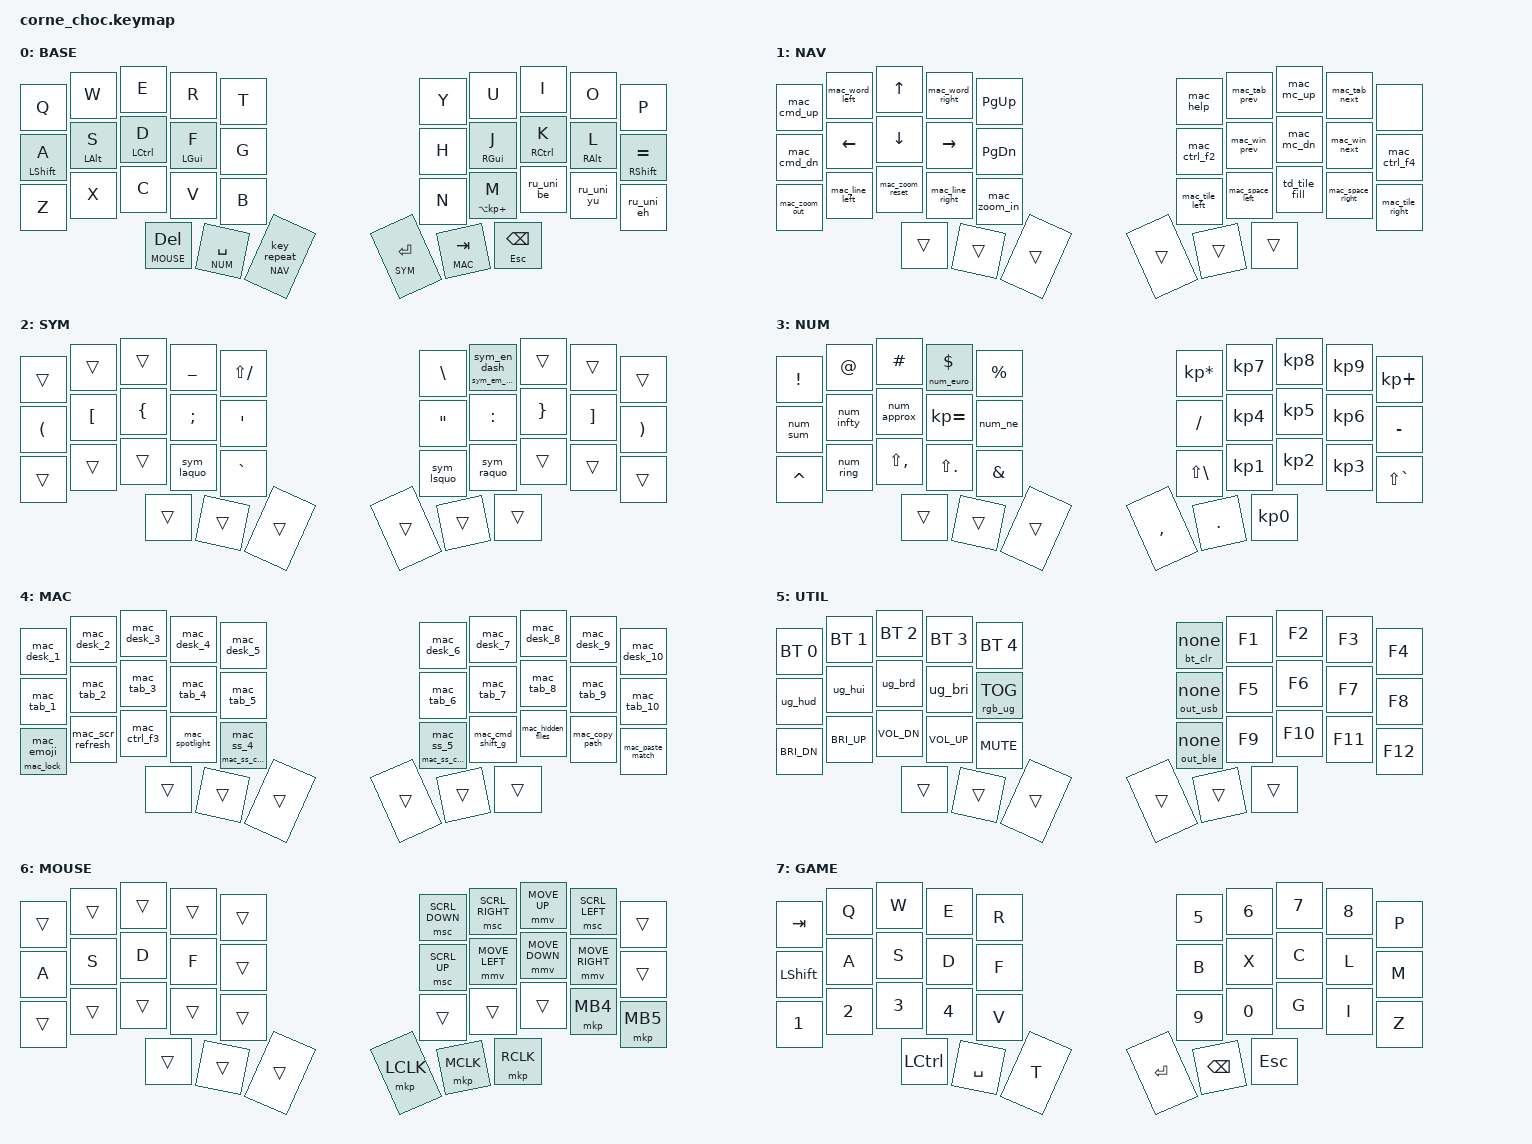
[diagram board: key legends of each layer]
/*
 * SPDX-License-Identifier: MIT
 */

#include <behaviors.dtsi>
#include <dt-bindings/zmk/behaviors.h>
#include <dt-bindings/zmk/bt.h>
#include <dt-bindings/zmk/keys.h>
/* Increase keyboard-driven cursor speed; ZMK defaults to 600. */
#define ZMK_POINTING_DEFAULT_MOVE_VAL 1200
/* Increase keyboard-driven scroll speed; ZMK defaults to 10. */
#define ZMK_POINTING_DEFAULT_SCRL_VAL 20
#include <dt-bindings/zmk/pointing.h>
#include <dt-bindings/zmk/rgb.h>
#include <dt-bindings/zmk/outputs.h>

/* Layer IDs */
#define BASE   0
#define NAV    1
#define SYM    2
#define NUM    3
#define MAC    4
#define UTIL   5
#define MOUSE  6
#define GAME   7

/ {
    chosen {
        zmk,physical-layout = &three_by_five_layout;
    };

    conditional_layers {
        compatible = "zmk,conditional-layers";
        nav_sym_util {
            if-layers = <NAV SYM>;
            then-layer = <UTIL>;
        };
    };

    /* ── Behaviors ── */

    behaviors {
        game_switch_hold: game_switch_hold {
            compatible = "zmk,behavior-hold-tap";
            #binding-cells = <2>;
            /* P + far-right thumb must stay held; other presses cannot switch early. */
            flavor = "tap-preferred";
            tapping-term-ms = <1000>;
            bindings = <&tog &none>;
        };

        ru_caps_word: ru_caps_word {
            compatible = "zmk,behavior-extended-caps-word";
            #binding-cells = <0>;
            /* GAME must not inherit implicit Shift from the typing mode. */
            deactivate-on-layer = <GAME>;
            /*
             * Keep Caps Word active for the Russian helper letters that live on
             * non-alpha HID keys and apply Shift to them like normal A-Z keys.
             */
            continue-list = <
                UNDERSCORE MINUS BACKSPACE DELETE
                KP_N0 KP_N1 KP_N2 KP_N3 KP_N4
                KP_N5 KP_N6 KP_N7 KP_N8 KP_N9
            >;
            word-list = <
                NUBS KP_MINUS KP_SLASH LA(KP_PLUS) KP_DOT
            >;
        };

        thumb_lt: thumb_lt {
            compatible = "zmk,behavior-hold-tap";
            #binding-cells = <2>;
            /*
             * Layer-tap thumb:
             * - Tap sends the key (e.g. Enter)
             * - Hold past tapping-term OR chord with another key to activate the layer (e.g. SYM)
             */
            flavor = "hold-preferred";
            tapping-term-ms = <220>;
            quick-tap-ms = <120>;
            bindings = <&mo &kp>;
        };

        ug_dn_ht: ug_dn_ht {
            compatible = "zmk,behavior-hold-tap";
            #binding-cells = <2>;
            /* Tap = underglow brightness down, hold = underglow hue down (color). */
            flavor = "tap-preferred";
            tapping-term-ms = <300>;
            bindings = <&ug_hud &ug_brd>;
        };

        ug_up_ht: ug_up_ht {
            compatible = "zmk,behavior-hold-tap";
            #binding-cells = <2>;
            /* Tap = underglow brightness up, hold = underglow hue up (color). */
            flavor = "tap-preferred";
            tapping-term-ms = <300>;
            bindings = <&ug_hui &ug_bri>;
        };

        rep_nav_lt: rep_nav_lt {
            compatible = "zmk,behavior-hold-tap";
            #binding-cells = <2>;
            /*
             * REP/NAV:
             * Tap = repeat last key.
             * Hold (or chord) = NAV layer.
             */
            flavor = "balanced";
            tapping-term-ms = <210>;
            quick-tap-ms = <150>;
            bindings = <&mo &key_repeat>;
        };

        tab_mac_lt: tab_mac_lt {
            compatible = "zmk,behavior-hold-tap";
            #binding-cells = <2>;
            /* Tap = TAB, hold = momentary MAC layer. */
            flavor = "balanced";
            tapping-term-ms = <210>;
            quick-tap-ms = <100>;
            bindings = <&mo &kp>;
        };

        hrm_l: hrm_l {
            compatible = "zmk,behavior-hold-tap";
            #binding-cells = <2>;
            /*
             * Home row mods (left hand):
             * - Tap sends the letter
             * - Hold sends the modifier
             */
            flavor = "balanced";
            tapping-term-ms = <200>;
            quick-tap-ms = <100>;
            require-prior-idle-ms = <120>;
            bindings = <&kp &kp>;
            hold-trigger-on-release;
            /*
             * Trigger holds mainly on opposite-hand chords (+ thumbs).
             * Key positions are BASE layer indices in this keymap.
             */
            hold-trigger-key-positions = <
                5 6 7 8 9
                15 16 17 18 19
                25 26 27 28 29
                30 31 32 33 34 35
            >;
        };

        hrm_r: hrm_r {
            compatible = "zmk,behavior-hold-tap";
            #binding-cells = <2>;
            /* Home row mods (right hand). */
            flavor = "balanced";
            tapping-term-ms = <200>;
            quick-tap-ms = <100>;
            require-prior-idle-ms = <120>;
            bindings = <&kp &kp>;
            hold-trigger-on-release;
            hold-trigger-key-positions = <
                0 1 2 3 4
                10 11 12 13 14
                20 21 22 23 24
                30 31 32 33 34 35
            >;
        };

        del_esc_ht: del_esc_ht {
            compatible = "zmk,behavior-hold-tap";
            #binding-cells = <2>;
            /* Tap = Backspace, Hold = Esc. */
            flavor = "tap-preferred";
            tapping-term-ms = <200>;
            quick-tap-ms = <150>;
            bindings = <&kp &kp>;
        };

        space_num_lt: space_num_lt {
            compatible = "zmk,behavior-hold-tap";
            #binding-cells = <2>;
            /* Tap = Space, Hold = NUM layer. */
            flavor = "balanced";
            tapping-term-ms = <220>;
            quick-tap-ms = <175>;
            require-prior-idle-ms = <120>;
            /*
             * Space is used constantly. Prior-idle + timing help prevent accidental NUM holds
             * during normal typing, while keeping deliberate holds easy.
             */
            bindings = <&mo &kp>;
        };

        bspc_mouse_lt: bspc_mouse_lt {
            compatible = "zmk,behavior-hold-tap";
            #binding-cells = <2>;
            /* Tap = Delete, Hold = MOUSE layer. */
            flavor = "balanced";
            tapping-term-ms = <220>;
            quick-tap-ms = <180>;
            require-prior-idle-ms = <120>;
            /*
             * Backspace is used a lot while typing. Make it hard to accidentally enter MOUSE.
             * Pause briefly, then hold to get MOUSE.
             */
            bindings = <&mo &kp>;
        };

        util_bt_clr_hold: util_bt_clr_hold {
            compatible = "zmk,behavior-hold-tap";
            #binding-cells = <2>;
            /* Hold to clear Bluetooth bonds. Tap does nothing. */
            flavor = "tap-preferred";
            tapping-term-ms = <800>;
            bindings = <&bt_clr &none>;
        };

        util_usb_hold: util_usb_hold {
            compatible = "zmk,behavior-hold-tap";
            #binding-cells = <2>;
            /* Hold to switch output to USB. Tap does nothing. */
            flavor = "tap-preferred";
            tapping-term-ms = <800>;
            bindings = <&out_usb &none>;
        };

        util_ble_hold: util_ble_hold {
            compatible = "zmk,behavior-hold-tap";
            #binding-cells = <2>;
            /* Hold to switch output to BLE. Tap does nothing. */
            flavor = "tap-preferred";
            tapping-term-ms = <800>;
            bindings = <&out_ble &none>;
        };

        mac_ss_4_ht: mac_ss_4_ht {
            compatible = "zmk,behavior-hold-tap";
            #binding-cells = <2>;
            /* Tap = screenshot region (⌘⇧4), hold = screenshot region to clipboard. */
            flavor = "tap-preferred";
            tapping-term-ms = <300>;
            bindings = <&mac_ss_clip_4 &mac_ss_4>;
        };

        mac_ss_5_ht: mac_ss_5_ht {
            compatible = "zmk,behavior-hold-tap";
            #binding-cells = <2>;
            /* Tap = screenshot/record panel (⌘⇧5), hold = to clipboard. */
            flavor = "tap-preferred";
            tapping-term-ms = <300>;
            bindings = <&mac_ss_clip_5 &mac_ss_5>;
        };

        mac_lock_emoji_ht: mac_lock_emoji_ht {
            compatible = "zmk,behavior-hold-tap";
            #binding-cells = <2>;
            /* Tap = emoji picker, hold = lock screen. */
            flavor = "tap-preferred";
            tapping-term-ms = <300>;
            bindings = <&mac_lock &mac_emoji>;
        };

        ru_uni_m_hard_sign_ht: ru_uni_m_hard_sign_ht {
            compatible = "zmk,behavior-hold-tap";
            #binding-cells = <2>;
            /* Tap = M, hold = hard sign via Russian Universal Option + keypad plus. */
            flavor = "tap-preferred";
            tapping-term-ms = <300>;
            bindings = <&kp &kp>;
        };

        sym_dash_ht: sym_dash_ht {
            compatible = "zmk,behavior-hold-tap";
            #binding-cells = <2>;
            /* Tap = en dash (–), hold = em dash (—) on macOS. */
            flavor = "tap-preferred";
            tapping-term-ms = <220>;
            bindings = <&sym_em_dash &sym_en_dash>;
        };

        num_dllr_euro_ht: num_dllr_euro_ht {
            compatible = "zmk,behavior-hold-tap";
            #binding-cells = <2>;
            /* Tap = $, hold = € on macOS. */
            flavor = "tap-preferred";
            tapping-term-ms = <220>;
            bindings = <&num_euro &kp>;
        };

        td_tile_fill: td_tile_fill {
            compatible = "zmk,behavior-tap-dance";
            #binding-cells = <0>;
            /* Tap = fill window, double-tap = Globe+Ctrl+R ×2 */
            tapping-term-ms = <200>;
            bindings = <&mac_tile_fill>, <&mac_tile_right_dbl>;
        };

    };

    /* ── Macros: System / BT ── */

    macros {
        bt_clr: bt_clr {
            compatible = "zmk,behavior-macro";
            #binding-cells = <0>;
            bindings = <&bt BT_CLR>;
        };

        out_usb: out_usb {
            compatible = "zmk,behavior-macro";
            #binding-cells = <0>;
            bindings = <&out OUT_USB>;
        };

        out_ble: out_ble {
            compatible = "zmk,behavior-macro";
            #binding-cells = <0>;
            bindings = <&out OUT_BLE>;
        };

        /* ── Macros: Russian Universal layout ── */

        /* Extra letters that live on non-standard HID positions in the custom layout. */

        ru_uni_be: ru_uni_be {
            compatible = "zmk,behavior-macro";
            #binding-cells = <0>;
            /* Б — mac key code 10 (NUBS) */
            bindings = <&kp NUBS>;
        };

        ru_uni_eh: ru_uni_eh {
            compatible = "zmk,behavior-macro";
            #binding-cells = <0>;
            /* Э — mac key code 75 (KP_SLASH) */
            bindings = <&kp KP_SLASH>;
        };

        ru_uni_yu: ru_uni_yu {
            compatible = "zmk,behavior-macro";
            #binding-cells = <0>;
            /* Ю — KP_MINUS */
            bindings = <&kp KP_MINUS>;
        };

        ru_uni_kha_kp: ru_uni_kha_kp {
            compatible = "zmk,behavior-macro";
            #binding-cells = <0>;
            /* Х — mac key code 65 (KP_DOT) */
            bindings = <&kp KP_DOT>;
        };

        /* ── Macros: Underglow wrappers ── */

        ug_brd: ug_brd {
            compatible = "zmk,behavior-macro";
            #binding-cells = <0>;
            bindings = <&rgb_ug RGB_BRD>;
        };

        ug_bri: ug_bri {
            compatible = "zmk,behavior-macro";
            #binding-cells = <0>;
            bindings = <&rgb_ug RGB_BRI>;
        };

        ug_hud: ug_hud {
            compatible = "zmk,behavior-macro";
            #binding-cells = <0>;
            bindings = <&rgb_ug RGB_HUD>;
        };

        ug_hui: ug_hui {
            compatible = "zmk,behavior-macro";
            #binding-cells = <0>;
            bindings = <&rgb_ug RGB_HUI>;
        };

        /* ── Macros: macOS shortcuts ── */

        mac_spotlight: mac_spotlight {
            compatible = "zmk,behavior-macro";
            #binding-cells = <0>;
            /* ⌘Space */
            bindings = <&macro_press &kp LGUI>
                     , <&macro_tap &kp SPACE>
                     , <&macro_release &kp LGUI>;
        };

        mac_desk_1: mac_desk_1 {
            compatible = "zmk,behavior-macro";
            #binding-cells = <0>;
            bindings = <&macro_press &kp LCTRL>
                     , <&macro_tap &kp N1>
                     , <&macro_release &kp LCTRL>;
        };

        mac_desk_2: mac_desk_2 {
            compatible = "zmk,behavior-macro";
            #binding-cells = <0>;
            bindings = <&macro_press &kp LCTRL>
                     , <&macro_tap &kp N2>
                     , <&macro_release &kp LCTRL>;
        };

        mac_desk_3: mac_desk_3 {
            compatible = "zmk,behavior-macro";
            #binding-cells = <0>;
            bindings = <&macro_press &kp LCTRL>
                     , <&macro_tap &kp N3>
                     , <&macro_release &kp LCTRL>;
        };

        mac_desk_4: mac_desk_4 {
            compatible = "zmk,behavior-macro";
            #binding-cells = <0>;
            bindings = <&macro_press &kp LCTRL>
                     , <&macro_tap &kp N4>
                     , <&macro_release &kp LCTRL>;
        };

        mac_desk_5: mac_desk_5 {
            compatible = "zmk,behavior-macro";
            #binding-cells = <0>;
            bindings = <&macro_press &kp LCTRL>
                     , <&macro_tap &kp N5>
                     , <&macro_release &kp LCTRL>;
        };

        mac_desk_6: mac_desk_6 {
            compatible = "zmk,behavior-macro";
            #binding-cells = <0>;
            bindings = <&macro_press &kp LCTRL>
                     , <&macro_tap &kp N6>
                     , <&macro_release &kp LCTRL>;
        };

        mac_desk_7: mac_desk_7 {
            compatible = "zmk,behavior-macro";
            #binding-cells = <0>;
            bindings = <&macro_press &kp LCTRL>
                     , <&macro_tap &kp N7>
                     , <&macro_release &kp LCTRL>;
        };

        mac_desk_8: mac_desk_8 {
            compatible = "zmk,behavior-macro";
            #binding-cells = <0>;
            bindings = <&macro_press &kp LCTRL>
                     , <&macro_tap &kp N8>
                     , <&macro_release &kp LCTRL>;
        };

        mac_desk_9: mac_desk_9 {
            compatible = "zmk,behavior-macro";
            #binding-cells = <0>;
            bindings = <&macro_press &kp LCTRL>
                     , <&macro_tap &kp N9>
                     , <&macro_release &kp LCTRL>;
        };

        mac_desk_10: mac_desk_10 {
            compatible = "zmk,behavior-macro";
            #binding-cells = <0>;
            bindings = <&macro_press &kp LCTRL>
                     , <&macro_tap &kp N0>
                     , <&macro_release &kp LCTRL>;
        };

        mac_mc_dn: mac_mc_dn {
            compatible = "zmk,behavior-macro";
            #binding-cells = <0>;
            /* Ctrl+↓ (Mission Control: Application Windows) */
            bindings = <&macro_press &kp LCTRL>
                     , <&macro_tap &kp DOWN>
                     , <&macro_release &kp LCTRL>;
        };

        mac_cmd_up: mac_cmd_up {
            compatible = "zmk,behavior-macro";
            #binding-cells = <0>;
            /* ⌘↑ (scroll to top / open parent folder) */
            bindings = <&macro_press &kp LGUI>
                     , <&macro_tap &kp UP>
                     , <&macro_release &kp LGUI>;
        };

        mac_cmd_dn: mac_cmd_dn {
            compatible = "zmk,behavior-macro";
            #binding-cells = <0>;
            /* ⌘↓ (scroll to bottom / open folder) */
            bindings = <&macro_press &kp LGUI>
                     , <&macro_tap &kp DOWN>
                     , <&macro_release &kp LGUI>;
        };

        mac_zoom_in: mac_zoom_in {
            compatible = "zmk,behavior-macro";
            #binding-cells = <0>;
            /* ⌘⇧= (Zoom in) */
            bindings = <&macro_press &kp LGUI>
                     , <&macro_press &kp LSHFT>
                     , <&macro_tap &kp EQUAL>
                     , <&macro_release &kp LSHFT>
                     , <&macro_release &kp LGUI>;
        };

        mac_zoom_out: mac_zoom_out {
            compatible = "zmk,behavior-macro";
            #binding-cells = <0>;
            /* ⌘- (Zoom out) */
            bindings = <&macro_press &kp LGUI>
                     , <&macro_tap &kp MINUS>
                     , <&macro_release &kp LGUI>;
        };

        mac_zoom_reset: mac_zoom_reset {
            compatible = "zmk,behavior-macro";
            #binding-cells = <0>;
            /* ⌘0 (Zoom reset) */
            bindings = <&macro_press &kp LGUI>
                     , <&macro_tap &kp N0>
                     , <&macro_release &kp LGUI>;
        };

        mac_tab_prev: mac_tab_prev {
            compatible = "zmk,behavior-macro";
            #binding-cells = <0>;
            /* ⌘⇧[ (Previous tab) */
            bindings = <&macro_press &kp LGUI>
                     , <&macro_press &kp LSHFT>
                     , <&macro_tap &kp LBKT>
                     , <&macro_release &kp LSHFT>
                     , <&macro_release &kp LGUI>;
        };

        mac_tab_next: mac_tab_next {
            compatible = "zmk,behavior-macro";
            #binding-cells = <0>;
            /* ⌘⇧] (Next tab) */
            bindings = <&macro_press &kp LGUI>
                     , <&macro_press &kp LSHFT>
                     , <&macro_tap &kp RBKT>
                     , <&macro_release &kp LSHFT>
                     , <&macro_release &kp LGUI>;
        };

        mac_win_next: mac_win_next {
            compatible = "zmk,behavior-macro";
            #binding-cells = <0>;
            /* ⌘` (Next window of same app) */
            bindings = <&macro_press &kp LGUI>
                     , <&macro_tap &kp GRAVE>
                     , <&macro_release &kp LGUI>;
        };

        mac_win_prev: mac_win_prev {
            compatible = "zmk,behavior-macro";
            #binding-cells = <0>;
            /* ⌘⇧` (Previous window of same app) */
            bindings = <&macro_press &kp LGUI>
                     , <&macro_press &kp LSHFT>
                     , <&macro_tap &kp GRAVE>
                     , <&macro_release &kp LSHFT>
                     , <&macro_release &kp LGUI>;
        };

        mac_mc_up: mac_mc_up {
            compatible = "zmk,behavior-macro";
            #binding-cells = <0>;
            /* Ctrl+↑ (Mission Control) */
            bindings = <&macro_press &kp LCTRL>
                     , <&macro_tap &kp UP>
                     , <&macro_release &kp LCTRL>;
        };

        mac_help: mac_help {
            compatible = "zmk,behavior-macro";
            #binding-cells = <0>;
            /* ⌘⇧/ (Help menu search) */
            bindings = <&macro_press &kp LGUI>
                     , <&macro_press &kp LSHFT>
                     , <&macro_tap &kp FSLH>
                     , <&macro_release &kp LSHFT>
                     , <&macro_release &kp LGUI>;
        };

        mac_scr_refresh: mac_scr_refresh {
            compatible = "zmk,behavior-macro";
            #binding-cells = <0>;
            /* Ctrl+F5 (Screen Refresh) */
            bindings = <&macro_press &kp LCTRL>
                     , <&macro_tap &kp F5>
                     , <&macro_release &kp LCTRL>;
        };

        mac_cmd_shift_g: mac_cmd_shift_g {
            compatible = "zmk,behavior-macro";
            #binding-cells = <0>;
            /* ⌘⇧G (Go to Folder in Finder) */
            bindings = <&macro_press &kp LGUI>
                     , <&macro_press &kp LSHFT>
                     , <&macro_tap &kp G>
                     , <&macro_release &kp LSHFT>
                     , <&macro_release &kp LGUI>;
        };

        mac_paste_match: mac_paste_match {
            compatible = "zmk,behavior-macro";
            #binding-cells = <0>;
            /* ⌘⌥⇧V (Paste and Match Style) */
            bindings = <&macro_press &kp LGUI>
                     , <&macro_press &kp LALT>
                     , <&macro_press &kp LSHFT>
                     , <&macro_tap &kp V>
                     , <&macro_release &kp LSHFT>
                     , <&macro_release &kp LALT>
                     , <&macro_release &kp LGUI>;
        };

        mac_hidden_files: mac_hidden_files {
            compatible = "zmk,behavior-macro";
            #binding-cells = <0>;
            /* ⌘⇧. (Toggle hidden files in Finder) */
            bindings = <&macro_press &kp LGUI>
                     , <&macro_press &kp LSHFT>
                     , <&macro_tap &kp DOT>
                     , <&macro_release &kp LSHFT>
                     , <&macro_release &kp LGUI>;
        };

        mac_copy_path: mac_copy_path {
            compatible = "zmk,behavior-macro";
            #binding-cells = <0>;
            /* ⌘⌥C (Copy as Pathname in Finder) */
            bindings = <&macro_press &kp LGUI>
                     , <&macro_press &kp LALT>
                     , <&macro_tap &kp C>
                     , <&macro_release &kp LALT>
                     , <&macro_release &kp LGUI>;
        };

        mac_space_left: mac_space_left {
            compatible = "zmk,behavior-macro";
            #binding-cells = <0>;
            /* Ctrl+← (Move to left Space) */
            bindings = <&macro_press &kp LCTRL>
                     , <&macro_tap &kp LEFT>
                     , <&macro_release &kp LCTRL>;
        };

        mac_space_right: mac_space_right {
            compatible = "zmk,behavior-macro";
            #binding-cells = <0>;
            /* Ctrl+→ (Move to right Space) */
            bindings = <&macro_press &kp LCTRL>
                     , <&macro_tap &kp RIGHT>
                     , <&macro_release &kp LCTRL>;
        };

        mac_ctrl_f2: mac_ctrl_f2 {
            compatible = "zmk,behavior-macro";
            #binding-cells = <0>;
            /* Ctrl+F2 (Focus menu bar) */
            bindings = <&macro_press &kp LCTRL>
                     , <&macro_tap &kp F2>
                     , <&macro_release &kp LCTRL>;
        };

        mac_ctrl_f3: mac_ctrl_f3 {
            compatible = "zmk,behavior-macro";
            #binding-cells = <0>;
            /* Ctrl+F3 (Focus Dock) */
            bindings = <&macro_press &kp LCTRL>
                     , <&macro_tap &kp F3>
                     , <&macro_release &kp LCTRL>;
        };

        mac_ctrl_f4: mac_ctrl_f4 {
            compatible = "zmk,behavior-macro";
            #binding-cells = <0>;
            /* Ctrl+F4 (Focus next window) */
            bindings = <&macro_press &kp LCTRL>
                     , <&macro_tap &kp F4>
                     , <&macro_release &kp LCTRL>;
        };

        mac_ss_4: mac_ss_4 {
            compatible = "zmk,behavior-macro";
            #binding-cells = <0>;
            /* ⌘⇧4 (Screenshot region) */
            bindings = <&macro_press &kp LGUI>
                     , <&macro_press &kp LSHFT>
                     , <&macro_tap &kp N4>
                     , <&macro_release &kp LSHFT>
                     , <&macro_release &kp LGUI>;
        };

        mac_ss_5: mac_ss_5 {
            compatible = "zmk,behavior-macro";
            #binding-cells = <0>;
            /* ⌘⇧5 (Screenshot/record panel) */
            bindings = <&macro_press &kp LGUI>
                     , <&macro_press &kp LSHFT>
                     , <&macro_tap &kp N5>
                     , <&macro_release &kp LSHFT>
                     , <&macro_release &kp LGUI>;
        };

        mac_ss_clip_4: mac_ss_clip_4 {
            compatible = "zmk,behavior-macro";
            #binding-cells = <0>;
            /* ⌃⌘⇧4 (Screenshot region to clipboard) */
            bindings = <&macro_press &kp LCTRL>
                     , <&macro_press &kp LGUI>
                     , <&macro_press &kp LSHFT>
                     , <&macro_tap &kp N4>
                     , <&macro_release &kp LSHFT>
                     , <&macro_release &kp LGUI>
                     , <&macro_release &kp LCTRL>;
        };

        mac_ss_clip_5: mac_ss_clip_5 {
            compatible = "zmk,behavior-macro";
            #binding-cells = <0>;
            /* ⌃⌘⇧5 (Screenshot/record panel to clipboard) */
            bindings = <&macro_press &kp LCTRL>
                     , <&macro_press &kp LGUI>
                     , <&macro_press &kp LSHFT>
                     , <&macro_tap &kp N5>
                     , <&macro_release &kp LSHFT>
                     , <&macro_release &kp LGUI>
                     , <&macro_release &kp LCTRL>;
        };

        mac_emoji: mac_emoji {
            compatible = "zmk,behavior-macro";
            #binding-cells = <0>;
            /* ⌃⌘Space (Emoji picker) */
            bindings = <&macro_press &kp LCTRL>
                     , <&macro_press &kp LGUI>
                     , <&macro_tap &kp SPACE>
                     , <&macro_release &kp LGUI>
                     , <&macro_release &kp LCTRL>;
        };

        mac_lock: mac_lock {
            compatible = "zmk,behavior-macro";
            #binding-cells = <0>;
            /* ⌃⌘Q (Lock screen) */
            bindings = <&macro_press &kp LCTRL>
                     , <&macro_press &kp LGUI>
                     , <&macro_tap &kp Q>
                     , <&macro_release &kp LGUI>
                     , <&macro_release &kp LCTRL>;
        };

        mac_tab_1: mac_tab_1 {
            compatible = "zmk,behavior-macro";
            #binding-cells = <0>;
            bindings = <&macro_press &kp LGUI>
                     , <&macro_tap &kp N1>
                     , <&macro_release &kp LGUI>;
        };

        mac_tab_2: mac_tab_2 {
            compatible = "zmk,behavior-macro";
            #binding-cells = <0>;
            bindings = <&macro_press &kp LGUI>
                     , <&macro_tap &kp N2>
                     , <&macro_release &kp LGUI>;
        };

        mac_tab_3: mac_tab_3 {
            compatible = "zmk,behavior-macro";
            #binding-cells = <0>;
            bindings = <&macro_press &kp LGUI>
                     , <&macro_tap &kp N3>
                     , <&macro_release &kp LGUI>;
        };

        mac_tab_4: mac_tab_4 {
            compatible = "zmk,behavior-macro";
            #binding-cells = <0>;
            bindings = <&macro_press &kp LGUI>
                     , <&macro_tap &kp N4>
                     , <&macro_release &kp LGUI>;
        };

        mac_tab_5: mac_tab_5 {
            compatible = "zmk,behavior-macro";
            #binding-cells = <0>;
            bindings = <&macro_press &kp LGUI>
                     , <&macro_tap &kp N5>
                     , <&macro_release &kp LGUI>;
        };

        mac_tab_6: mac_tab_6 {
            compatible = "zmk,behavior-macro";
            #binding-cells = <0>;
            bindings = <&macro_press &kp LGUI>
                     , <&macro_tap &kp N6>
                     , <&macro_release &kp LGUI>;
        };

        mac_tab_7: mac_tab_7 {
            compatible = "zmk,behavior-macro";
            #binding-cells = <0>;
            bindings = <&macro_press &kp LGUI>
                     , <&macro_tap &kp N7>
                     , <&macro_release &kp LGUI>;
        };

        mac_tab_8: mac_tab_8 {
            compatible = "zmk,behavior-macro";
            #binding-cells = <0>;
            bindings = <&macro_press &kp LGUI>
                     , <&macro_tap &kp N8>
                     , <&macro_release &kp LGUI>;
        };

        mac_tab_9: mac_tab_9 {
            compatible = "zmk,behavior-macro";
            #binding-cells = <0>;
            bindings = <&macro_press &kp LGUI>
                     , <&macro_tap &kp N9>
                     , <&macro_release &kp LGUI>;
        };

        mac_tab_10: mac_tab_10 {
            compatible = "zmk,behavior-macro";
            #binding-cells = <0>;
            bindings = <&macro_press &kp LGUI>
                     , <&macro_tap &kp N0>
                     , <&macro_release &kp LGUI>;
        };

        mac_word_left: mac_word_left {
            compatible = "zmk,behavior-macro";
            #binding-cells = <0>;
            /* ⌥← (Move word left) */
            bindings = <&macro_press &kp LALT>
                     , <&macro_tap &kp LEFT>
                     , <&macro_release &kp LALT>;
        };

        mac_word_right: mac_word_right {
            compatible = "zmk,behavior-macro";
            #binding-cells = <0>;
            /* ⌥→ (Move word right) */
            bindings = <&macro_press &kp LALT>
                     , <&macro_tap &kp RIGHT>
                     , <&macro_release &kp LALT>;
        };

        mac_line_left: mac_line_left {
            compatible = "zmk,behavior-macro";
            #binding-cells = <0>;
            /* ⌘← (Move to beginning of line) */
            bindings = <&macro_press &kp LGUI>
                     , <&macro_tap &kp LEFT>
                     , <&macro_release &kp LGUI>;
        };

        mac_line_right: mac_line_right {
            compatible = "zmk,behavior-macro";
            #binding-cells = <0>;
            /* ⌘→ (Move to end of line) */
            bindings = <&macro_press &kp LGUI>
                     , <&macro_tap &kp RIGHT>
                     , <&macro_release &kp LGUI>;
        };

        /* ── Macros: Symbols (Unicode via macOS Option combos) ── */

        sym_en_dash: sym_en_dash {
            compatible = "zmk,behavior-macro";
            #binding-cells = <0>;
            /* macOS: Option + - → – */
            bindings = <&macro_press &kp LALT>
                     , <&macro_tap &kp MINUS>
                     , <&macro_release &kp LALT>;
        };

        sym_em_dash: sym_em_dash {
            compatible = "zmk,behavior-macro";
            #binding-cells = <0>;
            /* macOS: Option + Shift + - → — */
            bindings = <&macro_press &kp LALT>
                     , <&macro_press &kp LSHFT>
                     , <&macro_tap &kp MINUS>
                     , <&macro_release &kp LSHFT>
                     , <&macro_release &kp LALT>;
        };

        num_euro: num_euro {
            compatible = "zmk,behavior-macro";
            #binding-cells = <0>;
            /* macOS: Option + Shift + 2 → € */
            bindings = <&macro_press &kp LALT>
                     , <&macro_press &kp LSHFT>
                     , <&macro_tap &kp N2>
                     , <&macro_release &kp LSHFT>
                     , <&macro_release &kp LALT>;
        };

        num_sum: num_sum {
            compatible = "zmk,behavior-macro";
            #binding-cells = <0>;
            /* macOS: Option + W → ∑ */
            bindings = <&macro_press &kp LALT>
                     , <&macro_tap &kp W>
                     , <&macro_release &kp LALT>;
        };

        sym_laquo: sym_laquo {
            compatible = "zmk,behavior-macro";
            #binding-cells = <0>;
            /* macOS: Option + \ → « */
            bindings = <&macro_press &kp LALT>
                     , <&macro_tap &kp BSLH>
                     , <&macro_release &kp LALT>;
        };

        sym_raquo: sym_raquo {
            compatible = "zmk,behavior-macro";
            #binding-cells = <0>;
            /* macOS: Option + Shift + \ → » */
            bindings = <&macro_press &kp LALT>
                     , <&macro_press &kp LSHFT>
                     , <&macro_tap &kp BSLH>
                     , <&macro_release &kp LSHFT>
                     , <&macro_release &kp LALT>;
        };

        sym_lsquo: sym_lsquo {
            compatible = "zmk,behavior-macro";
            #binding-cells = <0>;
            /* macOS: Option + ] → ' */
            bindings = <&macro_press &kp LALT>
                     , <&macro_tap &kp RBKT>
                     , <&macro_release &kp LALT>;
        };

        num_ne: num_ne {
            compatible = "zmk,behavior-macro";
            #binding-cells = <0>;
            /* macOS: Option + = → ≠ */
            bindings = <&macro_press &kp LALT>
                     , <&macro_tap &kp EQUAL>
                     , <&macro_release &kp LALT>;
        };

        num_approx: num_approx {
            compatible = "zmk,behavior-macro";
            #binding-cells = <0>;
            /* macOS: Option + X → ≈ */
            bindings = <&macro_press &kp LALT>
                     , <&macro_tap &kp X>
                     , <&macro_release &kp LALT>;
        };

        num_infty: num_infty {
            compatible = "zmk,behavior-macro";
            #binding-cells = <0>;
            /* macOS: Option + 5 → ∞ */
            bindings = <&macro_press &kp LALT>
                     , <&macro_tap &kp N5>
                     , <&macro_release &kp LALT>;
        };

        num_ring: num_ring {
            compatible = "zmk,behavior-macro";
            #binding-cells = <0>;
            /* macOS: Option + K → ˚ */
            bindings = <&macro_press &kp LALT>
                     , <&macro_tap &kp K>
                     , <&macro_release &kp LALT>;
        };

        mac_tile_left: mac_tile_left {
            compatible = "zmk,behavior-macro";
            #binding-cells = <0>;
            /*
             * Ctrl+Option+Cmd+Left (Tile window left half)
             * Requires macOS App Shortcut (All Applications):
             *   Menu title "Left" → Ctrl+Option+Cmd+Left
             * (System Settings > Keyboard > Keyboard Shortcuts > App Shortcuts)
             *
             * Why not the default Globe+Ctrl+Left?
             * ZMK sends Globe as a consumer HID usage (0x029D) in a separate
             * USB report from keyboard keys. macOS processes the keyboard
             * report first, so Ctrl+Arrow triggers text navigation or space
             * switching before Globe is considered (ZMK issue #947).
             *
             * Why not Ctrl+Option+Arrow (without Cmd)?
             * Option+Arrow is "move cursor one word" in macOS text fields.
             * Apps intercept the Option+Arrow portion before the App Shortcut
             * system sees the full combo, so tiling fails in any focused
             * text field.
             *
             * Ctrl+Option+Cmd+Arrow has no standard text-editing meaning,
             * so App Shortcuts always take priority.
             */
            bindings = <&macro_press &kp LCTRL &kp LALT &kp LCMD>
                     , <&macro_tap &kp LEFT>
                     , <&macro_release &kp LCMD &kp LALT &kp LCTRL>;
        };

        mac_tile_fill: mac_tile_fill {
            compatible = "zmk,behavior-macro";
            #binding-cells = <0>;
            /*
             * Ctrl+Option+Cmd+F (Fill window)
             * Requires macOS App Shortcut (All Applications):
             *   Menu title "Fill" → Ctrl+Option+Cmd+F
             * See mac_tile_left comment for why Globe-based shortcuts
             * are avoided.
             */
            bindings = <&macro_press &kp LCTRL &kp LALT &kp LCMD>
                     , <&macro_tap &kp F>
                     , <&macro_release &kp LCMD &kp LALT &kp LCTRL>;
        };

        mac_tile_right: mac_tile_right {
            compatible = "zmk,behavior-macro";
            #binding-cells = <0>;
            /*
             * Ctrl+Option+Cmd+Right (Tile window right half)
             * Requires macOS App Shortcut (All Applications):
             *   Menu title "Right" → Ctrl+Option+Cmd+Right
             * See mac_tile_left comment for why Globe-based shortcuts
             * are avoided.
             */
            bindings = <&macro_press &kp LCTRL &kp LALT &kp LCMD>
                     , <&macro_tap &kp RIGHT>
                     , <&macro_release &kp LCMD &kp LALT &kp LCTRL>;
        };

        mac_tile_right_dbl: mac_tile_right_dbl {
            compatible = "zmk,behavior-macro";
            #binding-cells = <0>;
            /*
             * Ctrl+Option+Cmd+R sent twice (Arrange right)
             * Requires macOS App Shortcut (All Applications):
             *   Menu title "Return to Previous Size" → Ctrl+Option+Cmd+R
             * Sent twice to cycle through arrangement positions.
             * See mac_tile_left comment for why Globe-based shortcuts
             * are avoided.
             */
            bindings = <&macro_press &kp LCTRL &kp LALT &kp LCMD>
                     , <&macro_tap &kp R>
                     , <&macro_release &kp LCMD &kp LALT &kp LCTRL>
                     , <&macro_wait_time 50>
                     , <&macro_press &kp LCTRL &kp LALT &kp LCMD>
                     , <&macro_tap &kp R>
                     , <&macro_release &kp LCMD &kp LALT &kp LCTRL>;
        };

    };

    /* ── Combos ── */

    combos {
        compatible = "zmk,combos";

        game_mode_combo {
            /* Short chord window; the separate hold-tap supplies the long hold. */
            timeout-ms = <50>;
            key-positions = <9 35>;
            bindings = <&game_switch_hold GAME 0>;
            layers = <BASE GAME>;
            /* Default release cancels the hold as soon as either key is released. */
        };

        /*
         * Russian Universal helper combos.
         *
         * ZMK emits HID keycodes (US/ANSI keys), not Cyrillic directly. With macOS input
         * source set to your custom "Russian – Universal" layout, these keycodes produce
         * Cyrillic letters while keeping SYM/NUM symbols stable.
         *
         * Х: `[` (LBKT)
         */
        ru_uni_kha: ru_uni_kha {
            timeout-ms = <80>;
            /* Щ (O) + З (P) */
            key-positions = <8 9>;
            bindings = <&ru_uni_kha_kp>;
            layers = <BASE>;
        };

        caps_word_combo: caps_word_combo {
            timeout-ms = <80>;
            /* Both shifts (LSHFT home-row A + RSHFT home-row =) → Caps Word */
            key-positions = <10 19>;
            bindings = <&ru_caps_word>;
            layers = <BASE>;
        };
    };

    /* ── Keymap layers ── */

    keymap {
        compatible = "zmk,keymap";

        base_layer {
            display-name = "BASE";
            // -------------------------------------------------------------------------
            // |  Q  |  W  |  E  |  R  |  T  |     |  Y  |  U  |  I  |  O  |  P  |
            // |  A  |  S  |  D  |  F  |  G  |     |  H  |  J  |  K  |  L  |  =  |
            // |  Z  |  X  |  C  |  V  |  B  |     |  N  | M/⏎ |  BE |  YU |  EH |
            //       | ⌦/MOUSE | Space/NUM | REP/NAV |  | ⏎/SYM | TAB/MAC | ⌫/Esc |
            bindings = <
                &kp Q    &kp W    &kp E    &kp R    &kp T                          &kp Y    &kp U    &kp I     &kp O    &kp P
                &hrm_l LSHFT A  &hrm_l LALT S  &hrm_l LCTRL D  &hrm_l LGUI F  &kp G                    &kp H    &hrm_r RGUI J   &hrm_r RCTRL K  &hrm_r RALT L  &hrm_r RSHFT EQUAL
                &kp Z               &kp X    &kp C    &kp V    &kp B                 &kp N    &ru_uni_m_hard_sign_ht LA(KP_PLUS) M &ru_uni_be &ru_uni_yu &ru_uni_eh
                         &bspc_mouse_lt MOUSE DEL   &space_num_lt NUM SPACE     &rep_nav_lt NAV 0 &thumb_lt SYM RET &tab_mac_lt MAC TAB &del_esc_ht ESC BSPC
            >;
        };

        nav_layer {
            display-name = "NAV";
            // -------------------------------------------------------------------------
            // |  ⌘↑  |  ⌥←  |  ↑   |  ⌥→  | PGUP |   | HELP  | <-TAB |  MC↑ | TAB-> |      |
            // |  ⌘↓  |  ←   |  ↓   |  →   | PGDN |   | MENU  | <-WIN |  MC↓ | WIN-> | C-F4 |
            // | ZM-  |  ⌘←  | ZM0  |  ⌘→  | ZM+  |   | TL←  | <-SP  | TileFill* | SP->  | TR→  |
            //        | --- | --- | --- |   | --- | --- | --- |
            bindings = <
                &mac_cmd_up   &mac_word_left &kp UP       &mac_word_right &kp PG_UP                 &mac_help          &mac_tab_prev      &mac_mc_up        &mac_tab_next &none
                &mac_cmd_dn   &kp LEFT      &kp DOWN     &kp RIGHT      &kp PG_DN                 &mac_ctrl_f2       &mac_win_prev      &mac_mc_dn        &mac_win_next &mac_ctrl_f4
                &mac_zoom_out &mac_line_left &mac_zoom_reset &mac_line_right &mac_zoom_in              &mac_tile_left     &mac_space_left    &td_tile_fill    &mac_space_right &mac_tile_right
                                 &trans                 &trans      &trans                        &trans              &trans      &trans
            >;
        };

        sym_layer {
            display-name = "SYM";
            // -------------------------------------------------------------------------
            // | --- | --- | --- |  _  |  ?  |   |  \  | –/— | --- | --- | --- |
            // |  (  |  [  |  {  |  ;  |  '  |   |  "  |  :  |  }  |  ]  |  )  |
            // | --- | --- | --- |  «  |  `  |   |  '  |  »  | --- | --- | --- |
            //              | --- | --- | --- |   | --- | --- | --- |
            bindings = <
                &trans         &trans         &trans        &kp UNDER     &kp LS(FSLH)            &kp BSLH      &sym_dash_ht 0 0 &trans  &trans  &trans
                &kp LPAR       &kp LBKT       &kp LBRC      &kp SEMI      &kp SQT                 &kp DQT      &kp COLON     &kp RBRC      &kp RBKT      &kp RPAR
                &trans         &trans         &trans        &sym_laquo    &kp GRAVE               &sym_lsquo   &sym_raquo    &trans        &trans        &trans
                              &trans       &trans       &trans                                   &trans       &trans       &trans
            >;
        };

        num_layer {
            display-name = "NUM";
            // -------------------------------------------------------------------------
            // |  !  |  @  |  #  |  $/€ |  %  |   |  *  |  7  |  8  |  9  |  +  |
            // |  ∑  |  ∞  |  ≈  |  =   |  ≠  |   |  /  |  4  |  5  |  6  |  -  |
            // |  ^  |  ˚  |  <  |  >   |  &  |   | Pipe |  1  |  2  |  3  |  ~  |
            //              | --- | --- | --- |   |  ,  |  .  |  0  |
            bindings = <
                &kp EXCL      &kp AT       &kp HASH       &num_dllr_euro_ht 0 DLLR  &kp PRCNT      &kp KP_MULTIPLY &kp KP_N7   &kp KP_N8   &kp KP_N9   &kp KP_PLUS
                &num_sum      &num_infty   &num_approx   &kp KP_EQUAL  &num_ne                   &kp FSLH        &kp KP_N4   &kp KP_N5   &kp KP_N6   &kp MINUS
                &kp CARET     &num_ring    &kp LS(COMMA)  &kp LS(DOT)   &kp AMPS                  &kp LS(BSLH)    &kp KP_N1   &kp KP_N2   &kp KP_N3   &kp LS(GRAVE)
                             &trans       &trans         &trans                                 &kp COMMA      &kp DOT     &kp KP_N0
            >;
        };

        mac_layer {
            display-name = "MAC";
            // -------------------------------------------------------------------------
            // | SP1 | SP2 | SP3 | SP4 | SP5 |   | SP6 | SP7 | SP8 | SP9 | SP10 |
            // | ⌘1  | ⌘2  | ⌘3  | ⌘4  | ⌘5  |   | ⌘6  | ⌘7  | ⌘8  | ⌘9  | ⌘0   |
            // | EMOJI/LOCK | SCRRFRSH | DOCK | SPOT | SS4/CLIP |   | SS5/CLIP | GOFLDR | HIDFILES | CPPATH | PSTMATCH |
            //          | --- | --- | --- |   | --- | --- | --- |
            bindings = <
                &mac_desk_1 &mac_desk_2 &mac_desk_3 &mac_desk_4 &mac_desk_5             &mac_desk_6 &mac_desk_7 &mac_desk_8 &mac_desk_9 &mac_desk_10
                &mac_tab_1 &mac_tab_2 &mac_tab_3 &mac_tab_4 &mac_tab_5                                     &mac_tab_6 &mac_tab_7 &mac_tab_8 &mac_tab_9 &mac_tab_10
                &mac_lock_emoji_ht 0 0 &mac_scr_refresh  &mac_ctrl_f3  &mac_spotlight &mac_ss_4_ht 0 0                        &mac_ss_5_ht 0 0 &mac_cmd_shift_g  &mac_hidden_files &mac_copy_path &mac_paste_match
                             &trans      &trans      &trans                             &trans      &trans      &trans
            >;
        };

        util_layer {
            display-name = "UTIL";
            // -------------------------------------------------------------------------
            // | BT0 | BT1 | BT2 | BT3 | BT4 |   | BT Clr* | F1  | F2  | F3  | F4  |
            // | Hue- | Hue+ | UG- | UG+ | UG_TOG |   | USB* | F5  | F6  | F7  | F8  |
            // | BR- | BR+ | V-  | V+  | MUTE |   | BLE* | F9  | F10 | F11 | F12 |
            //              | --- | --- | --- |   | --- | --- | --- |
            bindings = <
                &bt BT_SEL 0    &bt BT_SEL 1    &bt BT_SEL 2    &bt BT_SEL 3    &bt BT_SEL 4        &util_bt_clr_hold 0 0 &kp F1     &kp F2     &kp F3     &kp F4
                &ug_hud         &ug_hui         &ug_brd         &ug_bri         &rgb_ug RGB_TOG     &util_usb_hold 0 0 &kp F5     &kp F6     &kp F7     &kp F8
                &kp C_BRI_DN    &kp C_BRI_UP    &kp C_VOL_DN    &kp C_VOL_UP    &kp C_MUTE          &util_ble_hold 0 0 &kp F9     &kp F10    &kp F11    &kp F12
                            &trans       &trans       &trans                         &trans      &trans        &trans
            >;
        };

        mouse_layer {
            display-name = "MOUSE";
            // -------------------------------------------------------------------------
            // |     |     |     |     |     |   | ScrU | ScrL |  Up  | ScrR |     |
            // |  A  |  S  |  D  |  F  |     |   | ScrD | Left | Down | Right|     |
            // |     |     |     |     |     |   |      |      |      | MB4  | MB5 |
            //        | --- | --- | --- |   | LCLK | MCLK | RCLK |
            /* Explicit left home-row bindings bypass BASE home-row modifiers for games. */
            bindings = <
                &trans &trans   &trans &trans &trans   &msc SCRL_DOWN   &msc SCRL_RIGHT &mmv MOVE_UP    &msc SCRL_LEFT  &trans
                &kp A  &kp S    &kp D  &kp F  &trans   &msc SCRL_UP     &mmv MOVE_LEFT &mmv MOVE_DOWN  &mmv MOVE_RIGHT &trans
                &trans &trans   &trans &trans &trans   &trans          &trans         &trans          &mkp MB4      &mkp MB5
                     &trans          &trans         &trans                    &mkp LCLK    &mkp MCLK     &mkp RCLK
            >;
        };

        game_layer {
            display-name = "GAME";
            /* Co-op controls stay on the left; extra actions and slots use the right. */
            bindings = <
                &kp TAB  &kp Q    &kp W    &kp E    &kp R       &kp N5   &kp N6   &kp N7    &kp N8    &kp P
                &kp LSHFT &kp A   &kp S    &kp D    &kp F       &kp B    &kp X    &kp C     &kp L     &kp M
                &kp N1   &kp N2   &kp N3   &kp N4   &kp V       &kp N9   &kp N0   &kp G     &kp I     &kp Z
                         &kp LCTRL &kp SPACE &kp T                      &kp RET  &kp BSPC  &kp ESC
            >;
        };

    };
};
